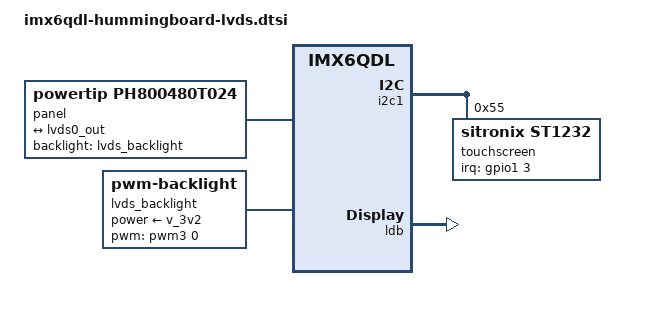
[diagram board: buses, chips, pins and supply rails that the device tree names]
/ {
	panel {
		compatible = "powertip,ph800480t024", "panel-lvds";
		width-mm = <108>;
		height-mm = <65>;
		data-mapping = "jeida-18";
		backlight = <&lvds_backlight>;

		panel-timing {
			clock-frequency = <33000000>;
			hactive = <800>;
			vactive = <480>;
			hback-porch = <46>;
			hfront-porch = <210>;
			vback-porch = <23>;
			vfront-porch = <22>;
			hsync-len = <60>;
			vsync-len = <10>;
		};

		port {
			panel_in: endpoint {
				remote-endpoint = <&lvds0_out>;
			};
		};
	};

	lvds_backlight: backlight {
		compatible = "pwm-backlight";
		pwms = <&pwm3 0 10000000>;
		power-supply = <&v_3v2>;
		brightness-levels = <0 3 6 12 16 24 32 48 64 96 128 192 255>;
		default-brightness-level = <12>;
	};
};

&i2c1 {
	touchscreen@55 {
		compatible = "sitronix,st1232";
		pinctrl-names = "default";
		pinctrl-0 = <&pinctrl_hummingboard_touchscreen>;
		reg = <0x55>;
		interrupt-parent = <&gpio1>;
		interrupts = <3 IRQ_TYPE_LEVEL_LOW>;
	};
};

&iomuxc {
	hummingboard {
		pinctrl_hummingboard_touchscreen: hummingboard-touchscreen {
			fsl,pins = <
				MX6QDL_PAD_GPIO_3__GPIO1_IO03	0x1b0b0
				MX6QDL_PAD_KEY_COL4__GPIO4_IO14	0x1b0b0
			>;
		};
	};
};

&ldb {
	status = "okay";

	lvds-channel@0 {
		fsl,data-mapping = "spwg";
		fsl,data-width = <18>;
		status = "okay";

		port@4 {
			reg = <4>;

			lvds0_out: endpoint {
				remote-endpoint = <&panel_in>;
			};
		};
	};
};
